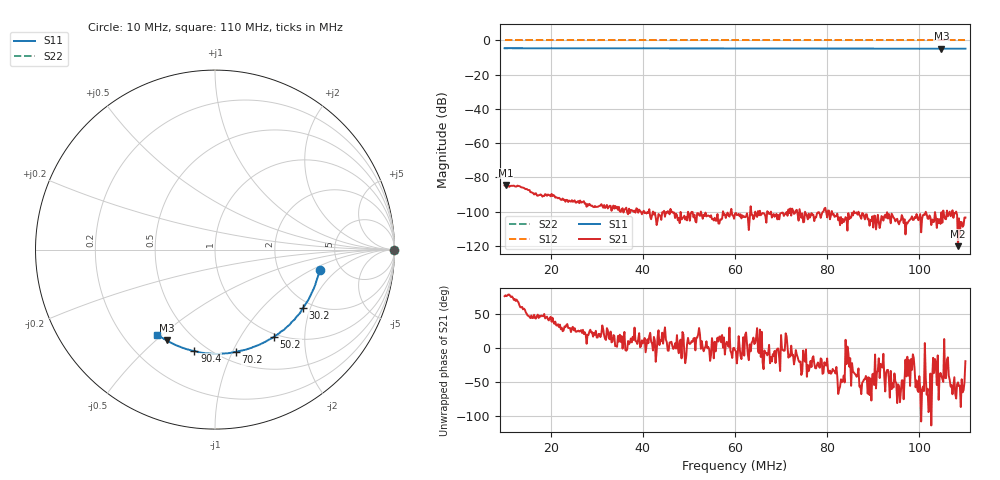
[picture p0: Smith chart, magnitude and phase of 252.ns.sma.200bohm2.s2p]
! Anritsu VNA Master:  Model: MS2036C/10/77
! SN:  1601066
! /card0/usr/ns.200bohm2.s2p
! Existing Calibration Information:
! TYPE:  Current Settings,  Active Cal Settings
! TIME:  12/21/2017 05:24:32 PM,  12/21/2017 05:13:10 PM
! INTERNAL TEMP:  39.3 C,  40.0 C
! # POINTS:  501,  501
! START FREQ:  10.000 MHz,  10.000 MHz
! STOP FREQ:  110.000 MHz,  110.000 MHz
! SOURCE POWER:  High,  High
! IFBW:  100 Hz,  100 Hz
! AVG FACTOR:  1 ,  1
! REF PLANE 1:  0 mm,  0 mm
! REF PLANE 2:  0 mm,  0 mm
! CAL TYPE:  Full S11,  Full S11
! CAL METHOD:  SOLT,  SOLT
! CAL LINE TYPE:  Coax,  Coax
! DUT PORT 1:  K-Conn(F),  K-Conn(F)
! DUT PORT 2:  K-Conn(F),  K-Conn(F)
! CAL STATUS:  OK: Accuracy High,  --
# GHZ S DB R 50.0
! FREQ.GHZ  S11DB  S11A  S21DB  S21A  S12DB  S12A  S22DB  S22A
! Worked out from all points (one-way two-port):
!   501 points, 10 MHz to 110 MHz, reference 50 ohm
!   highest |S21| = -84.40 dB at 10.2 MHz (marker M1); lowest = -120.3 dB at 108.4 MHz (marker M2)
!   lowest |S11| = -4.8 dB at 104.8 MHz (marker M3), VSWR 3.68, Z = 18 - j27.1 ohm
!   |S11| at or under -10 dB: nowhere
!   |S22| runs from 0.0 to 0.0 dB; largest |S21 - S12| = 1
!   S11 on the Smith chart (normalised r, x): 10 MHz: 3.46, -1.20; 30.2 MHz: 1.79, -1.78; 50.2 MHz: 0.96, -1.41; 70.2 MHz: 0.60, -1.03; 90.4 MHz: 0.43, -0.72; 110 MHz: 0.34, -0.48
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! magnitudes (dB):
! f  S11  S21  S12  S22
! 10 MHz  -4.5  -84.8  0.0  0.0
! 10.2 MHz  -4.5  -84.4  0.0  0.0
! 26.8 MHz  -4.6  -94.6  0.0  0.0
! 30.2 MHz  -4.6  -97.2  0.0  0.0
! 33 MHz  -4.6  -96.7  0.0  0.0
! 35.4 MHz  -4.6  -98.9  0.0  0.0
! 37.2 MHz  -4.6  -100.9  0.0  0.0
! 38.8 MHz  -4.6  -98.5  0.0  0.0
! 40.4 MHz  -4.6  -101.0  0.0  0.0
! 43.4 MHz  -4.6  -101.5  0.0  0.0
! 44.4 MHz  -4.6  -100.5  0.0  0.0
! 46 MHz  -4.6  -98.4  0.0  0.0
! 50.2 MHz  -4.6  -105.4  0.0  0.0
! 60 MHz  -4.7  -101.3  0.0  0.0
! 70.2 MHz  -4.7  -100.7  0.0  0.0
! 76.8 MHz  -4.7  -101.9  0.0  0.0
! 85 MHz  -4.7  -103.1  0.0  0.0
! 90.4 MHz  -4.8  -102.5  0.0  0.0
! 93.4 MHz  -4.8  -101.5  0.0  0.0
! 104.8 MHz  -4.8  -100.4  0.0  0.0
! 108.4 MHz  -4.8  -120.3  0.0  0.0
! 110 MHz  -4.8  -103.5  0.0  0.0
